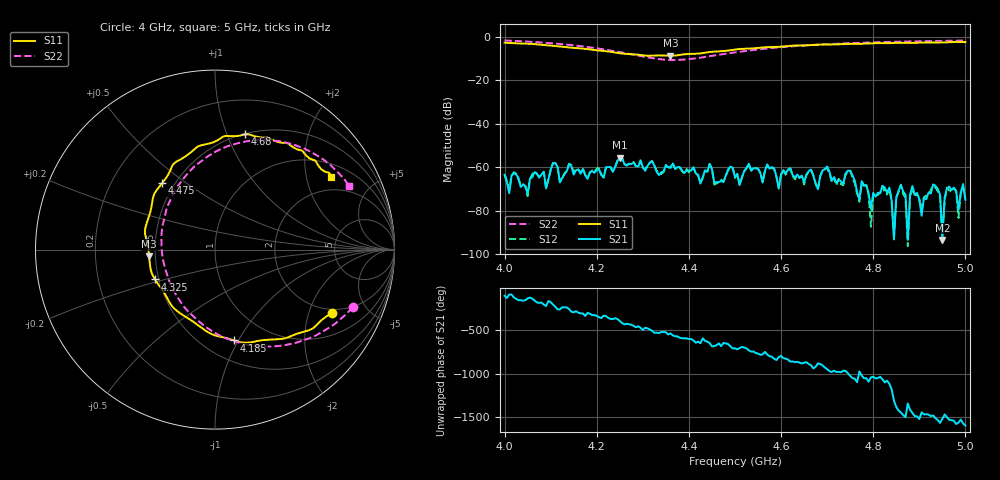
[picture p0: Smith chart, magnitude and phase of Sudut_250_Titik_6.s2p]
# Hz S RI R 50
! CMT, C1220, 16058040, 17.2.0/1
! Date: 15/08/2018 12:12:58
! Data: Format (Calibration Info)
! Freq  S11: Re/Im (F2)  S21: Re/Im (F2)  S12: Re/Im (F2)  S22: Re/Im (F2)
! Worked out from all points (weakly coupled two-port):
!   201 points, 4 GHz to 5 GHz, reference 50 ohm
!   highest |S21| = -55.67 dB at 4.25 GHz (marker M1); lowest = -93.5 dB at 4.95 GHz (marker M2)
!   lowest |S11| = -8.7 dB at 4.36 GHz (marker M3), VSWR 2.17, Z = 23.1 - j2.03 ohm
!   |S11| at or under -10 dB: nowhere
!   |S22| runs from -10.6 to -1.6 dB; largest |S21 - S12| = 0.00011
!   S11 on the Smith chart (normalised r, x): 4 GHz: 1.84, -2.86; 4.185 GHz: 0.69, -0.96; 4.325 GHz: 0.48, -0.18; 4.475 GHz: 0.43, +0.41; 4.68 GHz: 0.51, +1.16; 5 GHz: 1.46, +2.82
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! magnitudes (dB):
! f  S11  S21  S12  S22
! 4 GHz  -2.6  -63.5  -63.3  -1.6
! 4.05 GHz  -3.1  -72.4  -73.4  -2.1
! 4.065 GHz  -3.3  -62.3  -61.8  -2.3
! 4.17 GHz  -5.4  -60.7  -60.8  -4.3
! 4.185 GHz  -5.7  -62.4  -62.4  -4.8
! 4.25 GHz  -7.5  -55.7  -55.3  -7.0
! 4.325 GHz  -8.6  -59.3  -59.1  -9.9
! 4.335 GHz  -8.5  -63.6  -63.1  -10.2
! 4.36 GHz  -8.7  -60.3  -60.0  -10.6
! 4.475 GHz  -6.5  -66.9  -66.4  -7.9
! 4.5 GHz  -5.8  -64.6  -65.0  -7.1
! 4.67 GHz  -3.7  -64.0  -63.8  -3.7
! 4.68 GHz  -3.6  -70.1  -70.1  -3.5
! 4.7 GHz  -3.5  -59.7  -60.6  -3.3
! 4.785 GHz  -3.0  -68.3  -68.2  -2.6
! 4.795 GHz  -2.9  -79.3  -87.5  -2.5
! 4.835 GHz  -2.8  -69.4  -69.9  -2.3
! 4.905 GHz  -2.6  -82.4  -79.4  -1.9
! 4.93 GHz  -2.6  -67.9  -68.5  -1.9
! 4.95 GHz  -2.6  -93.5  -90.4  -1.8
! 4.96 GHz  -2.5  -69.8  -69.4  -1.7
! 5 GHz  -2.3  -75.0  -74.8  -1.6
